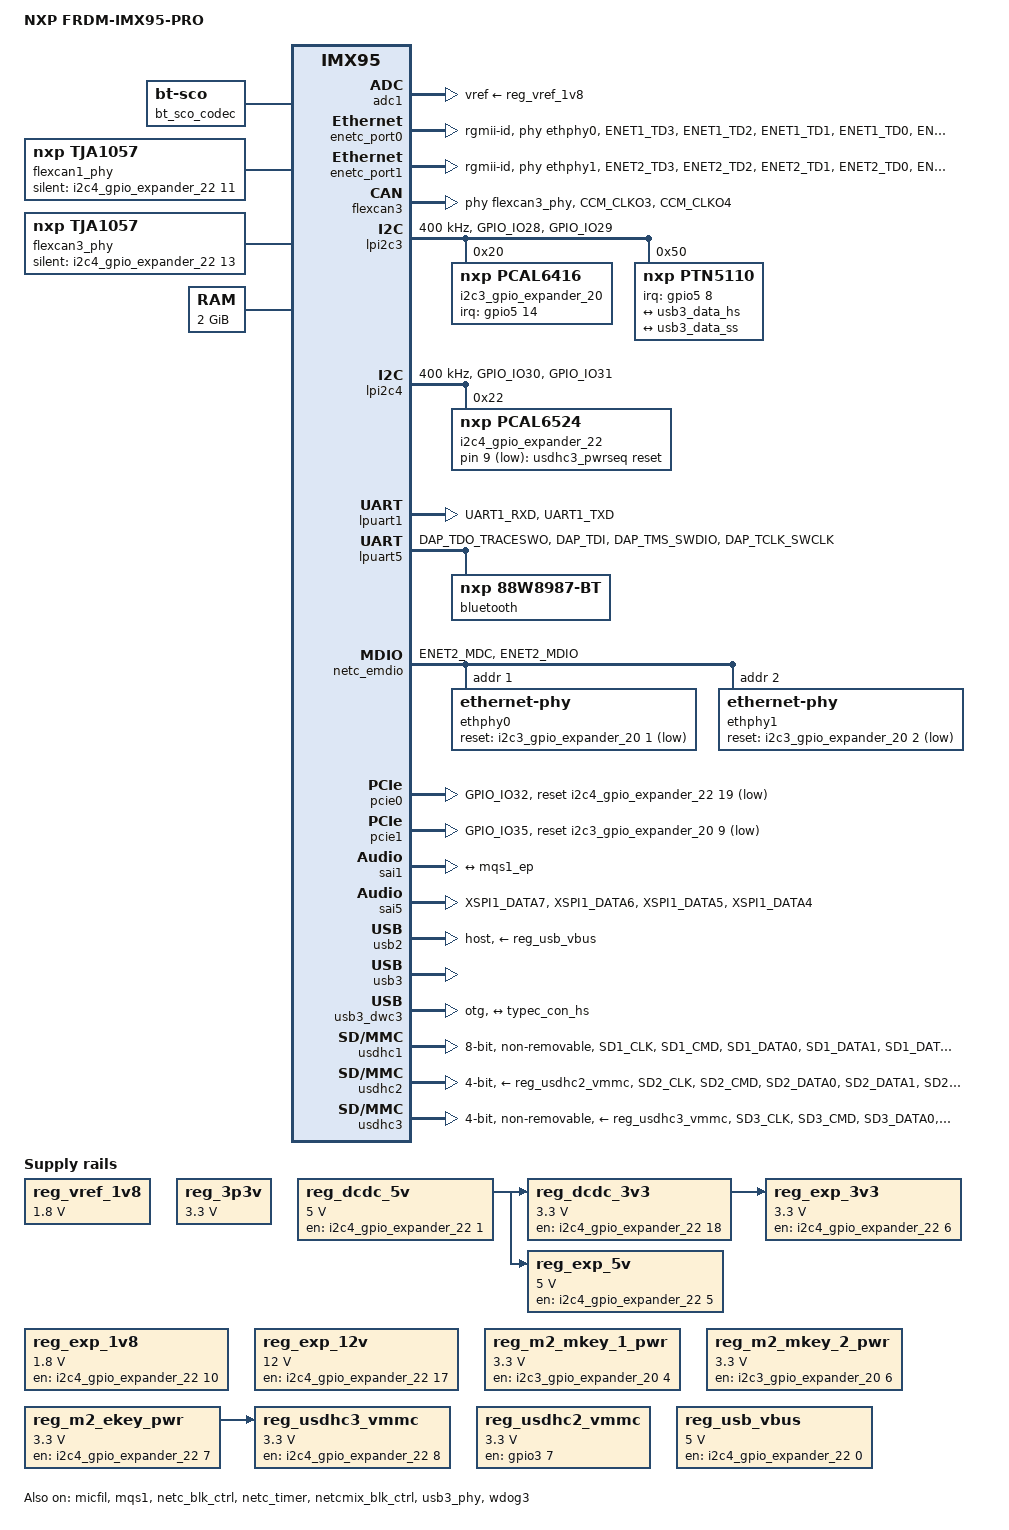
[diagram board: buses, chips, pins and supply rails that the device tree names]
// SPDX-License-Identifier: (GPL-2.0+ OR MIT)
/*
 * Copyright 2026 NXP
 */

/dts-v1/;

#include <dt-bindings/pwm/pwm.h>
#include <dt-bindings/usb/pd.h>
#include "imx95.dtsi"

#define FALLING_EDGE		1
#define RISING_EDGE		2

#define BRD_SM_CTRL_SD3_WAKE		0x8000	/*!< PCAL6408A-0 */
#define BRD_SM_CTRL_PCIE1_WAKE		0x8001	/*!< PCAL6408A-4 */
#define BRD_SM_CTRL_BT_WAKE		0x8002	/*!< PCAL6408A-5 */
#define BRD_SM_CTRL_PCIE2_WAKE		0x8003	/*!< PCAL6408A-6 */
#define BRD_SM_CTRL_BUTTON		0x8004	/*!< PCAL6408A-7 */

/ {
	model = "NXP FRDM-IMX95-PRO";
	compatible = "fsl,imx95-19x19-frdm-pro", "fsl,imx95";

	aliases {
		ethernet0 = &enetc_port0;
		ethernet1 = &enetc_port1;
		gpio0 = &gpio1;
		gpio1 = &gpio2;
		gpio2 = &gpio3;
		gpio3 = &gpio4;
		gpio4 = &gpio5;
		i2c0 = &lpi2c1;
		i2c1 = &lpi2c2;
		i2c2 = &lpi2c3;
		i2c3 = &lpi2c4;
		mmc0 = &usdhc1;
		mmc1 = &usdhc2;
		serial0 = &lpuart1;
		serial4 = &lpuart5;
	};

	bt_sco_codec: bt-sco-codec {
		compatible = "linux,bt-sco";
		#sound-dai-cells = <1>;
	};

	flexcan1_phy: can-phy0 {
		compatible = "nxp,tja1057";
		#phy-cells = <0>;
		max-bitrate = <5000000>;
		silent-gpios = <&i2c4_gpio_expander_22 11 GPIO_ACTIVE_HIGH>;
	};

	flexcan3_phy: can-phy2 {
		compatible = "nxp,tja1057";
		#phy-cells = <0>;
		max-bitrate = <5000000>;
		silent-gpios = <&i2c4_gpio_expander_22 13 GPIO_ACTIVE_HIGH>;
	};

	chosen {
		#address-cells = <2>;
		#size-cells = <2>;
		stdout-path = &lpuart1;
	};

	reg_vref_1v8: regulator-1p8v {
		compatible = "regulator-fixed";
		regulator-name = "+V1.8_SW";
		regulator-max-microvolt = <1800000>;
		regulator-min-microvolt = <1800000>;
	};

	reg_3p3v: regulator-3p3v {
		compatible = "regulator-fixed";
		regulator-name = "+V3.3_SW";
		regulator-max-microvolt = <3300000>;
		regulator-min-microvolt = <3300000>;
	};

	reg_dcdc_3v3: regulator-dcdc-3v3 {
		compatible = "regulator-fixed";
		regulator-name = "DCDC_3V3";
		regulator-always-on;
		regulator-max-microvolt = <3300000>;
		regulator-min-microvolt = <3300000>;
		vin-supply = <&reg_dcdc_5v>;
		gpio = <&i2c4_gpio_expander_22 18 GPIO_ACTIVE_HIGH>;
		enable-active-high;
	};

	reg_dcdc_5v: regulator-dcdc-5v {
		compatible = "regulator-fixed";
		regulator-name = "DCDC_5V";
		regulator-always-on;
		regulator-max-microvolt = <5000000>;
		regulator-min-microvolt = <5000000>;
		gpio = <&i2c4_gpio_expander_22 1 GPIO_ACTIVE_HIGH>;
		enable-active-high;
	};

	reg_exp_1v8: regulator-exp-1v8 {
		compatible = "regulator-fixed";
		regulator-name = "EXP_1V8";
		regulator-max-microvolt = <1800000>;
		regulator-min-microvolt = <1800000>;
		gpio = <&i2c4_gpio_expander_22 10 GPIO_ACTIVE_HIGH>;
		enable-active-high;
	};

	reg_exp_3v3: regulator-exp-3v3 {
		compatible = "regulator-fixed";
		regulator-name = "EXP_3V3";
		regulator-max-microvolt = <3300000>;
		regulator-min-microvolt = <3300000>;
		vin-supply = <&reg_dcdc_3v3>;
		gpio = <&i2c4_gpio_expander_22 6 GPIO_ACTIVE_HIGH>;
		enable-active-high;
	};

	reg_exp_5v: regulator-exp-5v {
		compatible = "regulator-fixed";
		regulator-name = "EXP_5V";
		regulator-always-on;
		regulator-max-microvolt = <5000000>;
		regulator-min-microvolt = <5000000>;
		vin-supply = <&reg_dcdc_5v>;
		gpio = <&i2c4_gpio_expander_22 5 GPIO_ACTIVE_HIGH>;
		enable-active-high;
	};

	reg_exp_12v: regulator-exp-12v {
		compatible = "regulator-fixed";
		regulator-name = "VCCEXP_12V";
		regulator-always-on;
		regulator-max-microvolt = <12000000>;
		regulator-min-microvolt = <12000000>;
		gpio = <&i2c4_gpio_expander_22 17 GPIO_ACTIVE_HIGH>;
		enable-active-high;
	};

	reg_m2_mkey_1_pwr: regulator-m2-mkey-1-pwr {
		compatible = "regulator-fixed";
		regulator-name = "M.2-power-mkey-1";
		regulator-always-on;
		regulator-max-microvolt = <3300000>;
		regulator-min-microvolt = <3300000>;
		gpio = <&i2c3_gpio_expander_20 4 GPIO_ACTIVE_HIGH>;
		enable-active-high;
	};

	reg_m2_mkey_2_pwr: regulator-m2-mkey-2-pwr {
		compatible = "regulator-fixed";
		regulator-name = "M.2-power-mkey-2";
		regulator-always-on;
		regulator-max-microvolt = <3300000>;
		regulator-min-microvolt = <3300000>;
		gpio = <&i2c3_gpio_expander_20 6 GPIO_ACTIVE_HIGH>;
		enable-active-high;
	};

	reg_m2_ekey_pwr: regulator-m2-pwr {
		compatible = "regulator-fixed";
		regulator-name = "M.2-power-ekey";
		regulator-always-on;
		regulator-max-microvolt = <3300000>;
		regulator-min-microvolt = <3300000>;
		gpio = <&i2c4_gpio_expander_22 7 GPIO_ACTIVE_HIGH>;
		enable-active-high;
	};

	reg_usdhc2_vmmc: regulator-usdhc2 {
		compatible = "regulator-fixed";
		regulator-name = "VDD_SD2_3V3";
		off-on-delay-us = <12000>;
		pinctrl-0 = <&pinctrl_reg_usdhc2_vmmc>;
		pinctrl-names = "default";
		regulator-max-microvolt = <3300000>;
		regulator-min-microvolt = <3300000>;
		gpio = <&gpio3 7 GPIO_ACTIVE_HIGH>;
		enable-active-high;
	};

	reg_usdhc3_vmmc: regulator-usdhc3 {
		compatible = "regulator-fixed";
		regulator-name = "WLAN_EN";
		regulator-max-microvolt = <3300000>;
		regulator-min-microvolt = <3300000>;
		vin-supply = <&reg_m2_ekey_pwr>;
		gpio = <&i2c4_gpio_expander_22 8 GPIO_ACTIVE_HIGH>;
		enable-active-high;
		/*
		 * IW612 wifi chip needs more delay than other wifi chips to complete
		 * the host interface initialization after power up, otherwise the
		 * internal state of IW612 may be unstable, resulting in the failure of
		 * the SDIO3.0 switch voltage.
		 */
		startup-delay-us = <20000>;
	};

	reg_usb_vbus: regulator-vbus {
		compatible = "regulator-fixed";
		regulator-name = "USB_VBUS";
		regulator-max-microvolt = <5000000>;
		regulator-min-microvolt = <5000000>;
		gpio = <&i2c4_gpio_expander_22 0 GPIO_ACTIVE_HIGH>;
		enable-active-high;
	};

	reserved-memory {
		ranges;
		#address-cells = <2>;
		#size-cells = <2>;

		linux_cma: linux,cma {
			compatible = "shared-dma-pool";
			alloc-ranges = <0 0x80000000 0 0x7F000000>;
			reusable;
			size = <0 0x3c000000>;
			linux,cma-default;
		};
	};

	sound-bt-sco {
		compatible = "simple-audio-card";
		simple-audio-card,bitclock-inversion;
		simple-audio-card,bitclock-master = <&btcpu>;
		simple-audio-card,format = "dsp_a";
		simple-audio-card,frame-master = <&btcpu>;
		simple-audio-card,name = "bt-sco-audio";

		simple-audio-card,codec {
			sound-dai = <&bt_sco_codec 1>;
		};

		btcpu: simple-audio-card,cpu {
			dai-tdm-slot-num = <2>;
			dai-tdm-slot-width = <16>;
			sound-dai = <&sai5>;
		};
	};

	sound-micfil {
		compatible = "fsl,imx-audio-card";
		model = "micfil-audio";

		pri-dai-link {
			format = "i2s";
			link-name = "micfil hifi";

			cpu {
				sound-dai = <&micfil>;
			};
		};
	};

	sound-mqs {
		compatible = "audio-graph-card2";
		links = <&sai1_port1>;
		label = "mqs-audio";
	};

	usdhc3_pwrseq: usdhc3-pwrseq {
		compatible = "mmc-pwrseq-simple";
		reset-gpios = <&i2c4_gpio_expander_22 9 GPIO_ACTIVE_LOW>;
	};

	memory@80000000 {
		reg = <0x0 0x80000000 0 0x80000000>;
		device_type = "memory";
	};
};

&adc1 {
	vref-supply = <&reg_vref_1v8>;
	status = "okay";
};

&enetc_port0 {
	phy-handle = <&ethphy0>;
	phy-mode = "rgmii-id";
	pinctrl-0 = <&pinctrl_enetc0>;
	pinctrl-names = "default";
	status = "okay";
};

&enetc_port1 {
	phy-handle = <&ethphy1>;
	phy-mode = "rgmii-id";
	pinctrl-0 = <&pinctrl_enetc1>;
	pinctrl-names = "default";
	status = "okay";
};

&flexcan1 {
	phys = <&flexcan1_phy>;
	pinctrl-0 = <&pinctrl_flexcan1>;
	pinctrl-names = "default";
	status = "reserved";
};

&flexcan3 {
	phys = <&flexcan3_phy>;
	pinctrl-0 = <&pinctrl_flexcan3>;
	pinctrl-names = "default";
	status = "okay";
};

&lpi2c3 {
	clock-frequency = <400000>;
	pinctrl-0 = <&pinctrl_lpi2c3>;
	pinctrl-names = "default";
	status = "okay";

	i2c3_gpio_expander_20: i2c3-gpio-expander@20 {
		compatible = "nxp,pcal6416";
		reg = <0x20>;
		#interrupt-cells = <2>;
		interrupt-controller;
		interrupt-parent = <&gpio5>;
		interrupts = <14 IRQ_TYPE_LEVEL_LOW>;
		#gpio-cells = <2>;
		gpio-controller;
		pinctrl-0 = <&pinctrl_pcal6416>;
		pinctrl-names = "default";
	};

	ptn5110: tcpc@50 {
		compatible = "nxp,ptn5110", "tcpci";
		reg = <0x50>;
		interrupt-parent = <&gpio5>;
		interrupts = <8 IRQ_TYPE_LEVEL_LOW>;
		pinctrl-0 = <&pinctrl_ptn5110>;
		pinctrl-names = "default";

		typec_con: connector {
			compatible = "usb-c-connector";
			data-role = "dual";
			label = "USB-C";
			op-sink-microwatt = <0>;
			power-role = "dual";
			self-powered;
			sink-pdos = <PDO_FIXED(5000, 0, PDO_FIXED_USB_COMM)>;
			source-pdos = <PDO_FIXED(5000, 3000, PDO_FIXED_USB_COMM)>;
			try-power-role = "sink";

			ports {
				#address-cells = <1>;
				#size-cells = <0>;

				port@0 {
					reg = <0>;

					typec_con_hs: endpoint {
						remote-endpoint = <&usb3_data_hs>;
					};
				};

				port@1 {
					reg = <1>;

					typec_con_ss: endpoint {
						remote-endpoint = <&usb3_data_ss>;
					};
				};
			};
		};
	};
};

&lpi2c4 {
	clock-frequency = <400000>;
	pinctrl-0 = <&pinctrl_lpi2c4>;
	pinctrl-names = "default";
	status = "okay";

	i2c4_gpio_expander_22: i2c4-gpio-expander@22 {
		compatible = "nxp,pcal6524";
		reg = <0x22>;
		#gpio-cells = <2>;
		gpio-controller;
		gpio-line-names = "USB2 Power Enable",
				  "DCDC5V Enable",
				  "",
				  "SE Enable",
				  "",
				  "EXP 5V Enable",
				  "EXP 3V3 Enable",
				  "WIFI Power Enable",
				  "M2 DIS1 B",
				  "WIFI SD3 Reset",
				  "EXP 1V8 Enable",
				  "CAN1 Standby",
				  "M2 DIS2",
				  "CAN2 Standby",
				  "ETH 10G IO4",
				  "ETH 10G IO3",
				  "SPI3/GPIO select",
				  "EXP 12V Enable",
				  "DCDC 3V3 Enable",
				  "PCIE1 Reset",
				  "",
				  "ETH 10G CLK Enable",
				  "LVDS to HDMI converter IT6263 reset",
				  "";

		/* When high, select lpspi; When low, select gpio. */
		lpspi-gpio-sel-hog {
			gpios = <16 GPIO_ACTIVE_HIGH>;
			gpio-hog;
			output-high;
		};
	};
};

&lpuart1 {
	/* console */
	pinctrl-names = "default";
	pinctrl-0 = <&pinctrl_uart1>;
	status = "okay";
};

&lpuart5 {
	/* BT */
	pinctrl-names = "default";
	pinctrl-0 = <&pinctrl_uart5>;
	status = "okay";

	bluetooth {
		compatible = "nxp,88w8987-bt";
	};
};

&micfil {
	assigned-clocks = <&scmi_clk IMX95_CLK_AUDIOPLL1_VCO>,
			  <&scmi_clk IMX95_CLK_AUDIOPLL2_VCO>,
			  <&scmi_clk IMX95_CLK_AUDIOPLL1>,
			  <&scmi_clk IMX95_CLK_AUDIOPLL2>,
			  <&scmi_clk IMX95_CLK_PDM>;
	assigned-clock-parents = <0>, <0>, <0>, <0>,
				 <&scmi_clk IMX95_CLK_AUDIOPLL1>;
	assigned-clock-rates = <3932160000>,
			       <3612672000>, <393216000>,
			       <361267200>, <49152000>;
	#sound-dai-cells = <0>;
	pinctrl-0 = <&pinctrl_pdm>;
	pinctrl-names = "default";
	status = "okay";
};

&mqs1 {
	clocks = <&scmi_clk IMX95_CLK_SAI1>;
	clock-names = "mclk";
	pinctrl-0 = <&pinctrl_mqs1>;
	pinctrl-names = "default";
	status = "okay";

	mqs1_port: port {
		mqs1_ep: endpoint {
			dai-format = "left_j";
			remote-endpoint = <&sai1_port1_ep>;
		};
	};
};

&netc_blk_ctrl {
	status = "okay";
};

&netc_emdio {
	pinctrl-0 = <&pinctrl_emdio>;
	pinctrl-names = "default";
	status = "okay";

	ethphy0: ethernet-phy@1 {
		reg = <1>;
		reset-assert-us = <10000>;
		reset-deassert-us = <80000>;
		reset-gpios = <&i2c3_gpio_expander_20 1 GPIO_ACTIVE_LOW>;
	};

	ethphy1: ethernet-phy@2 {
		reg = <2>;
		reset-assert-us = <10000>;
		reset-deassert-us = <80000>;
		reset-gpios = <&i2c3_gpio_expander_20 2 GPIO_ACTIVE_LOW>;
	};
};

&netc_timer {
	status = "okay";
};

&netcmix_blk_ctrl {
	status = "okay";
};

&pcie0 {
	pinctrl-0 = <&pinctrl_pcie0>;
	pinctrl-names = "default";
	reset-gpio = <&i2c4_gpio_expander_22 19 GPIO_ACTIVE_LOW>;
	vpcie-supply = <&reg_m2_mkey_1_pwr>;
	status = "okay";
};

&pcie1 {
	pinctrl-0 = <&pinctrl_pcie1>;
	pinctrl-names = "default";
	reset-gpio = <&i2c3_gpio_expander_20 9 GPIO_ACTIVE_LOW>;
	vpcie-supply = <&reg_m2_mkey_2_pwr>;
	status = "okay";
};

&sai1 {
	clocks = <&scmi_clk IMX95_CLK_BUSAON>, <&dummy>,
		 <&scmi_clk IMX95_CLK_SAI1>, <&dummy>,
		 <&dummy>, <&scmi_clk IMX95_CLK_AUDIOPLL1>,
		 <&scmi_clk IMX95_CLK_AUDIOPLL2>;
	clock-names = "bus", "mclk0", "mclk1", "mclk2", "mclk3", "pll8k", "pll11k";
	assigned-clocks = <&scmi_clk IMX95_CLK_AUDIOPLL1_VCO>,
			  <&scmi_clk IMX95_CLK_AUDIOPLL2_VCO>,
			  <&scmi_clk IMX95_CLK_AUDIOPLL1>,
			  <&scmi_clk IMX95_CLK_AUDIOPLL2>,
			  <&scmi_clk IMX95_CLK_SAI1>;
	assigned-clock-parents = <0>, <0>, <0>, <0>,
				 <&scmi_clk IMX95_CLK_AUDIOPLL1>;
	assigned-clock-rates = <3932160000>,
			       <3612672000>, <393216000>,
			       <361267200>, <24576000>;
	#sound-dai-cells = <0>;
	fsl,sai-mclk-direction-output;
	status = "okay";

	ports {
		#address-cells = <1>;
		#size-cells = <0>;

		/* leave unconnected - no RX in the context of MQS */
		port@0 {
			reg = <0>;

			endpoint {
			};
		};

		sai1_port1: port@1 {
			reg = <1>;
			mclk-fs = <512>;

			sai1_port1_ep: endpoint {
				dai-format = "left_j";
				system-clock-direction-out;
				bitclock-master;
				frame-master;
				remote-endpoint = <&mqs1_ep>;
			};
		};
	};
};

&sai5 {
	assigned-clocks = <&scmi_clk IMX95_CLK_AUDIOPLL1_VCO>,
			  <&scmi_clk IMX95_CLK_AUDIOPLL2_VCO>,
			  <&scmi_clk IMX95_CLK_AUDIOPLL1>,
			  <&scmi_clk IMX95_CLK_AUDIOPLL2>,
			  <&scmi_clk IMX95_CLK_SAI5>;
	assigned-clock-parents = <0>, <0>, <0>, <0>,
				 <&scmi_clk IMX95_CLK_AUDIOPLL1>;
	assigned-clock-rates = <3932160000>,
			       <3612672000>, <393216000>,
			       <361267200>, <12288000>;
	#sound-dai-cells = <0>;
	pinctrl-0 = <&pinctrl_sai5>;
	pinctrl-names = "default";
	fsl,sai-mclk-direction-output;
	status = "okay";
};

&scmi_iomuxc {
	pinctrl-0 = <&pinctrl_hog>;
	pinctrl-names = "default";

	pinctrl_emdio: emdiogrp {
		fsl,pins = <
			IMX95_PAD_ENET2_MDC__NETCMIX_TOP_NETC_MDC		0x50e
			IMX95_PAD_ENET2_MDIO__NETCMIX_TOP_NETC_MDIO		0x90e
		>;
	};

	pinctrl_enetc0: enetc0grp {
		fsl,pins = <
			IMX95_PAD_ENET1_TD3__NETCMIX_TOP_ETH0_RGMII_TD3		0x50e
			IMX95_PAD_ENET1_TD2__NETCMIX_TOP_ETH0_RGMII_TD2		0x50e
			IMX95_PAD_ENET1_TD1__NETCMIX_TOP_ETH0_RGMII_TD1		0x50e
			IMX95_PAD_ENET1_TD0__NETCMIX_TOP_ETH0_RGMII_TD0		0x50e
			IMX95_PAD_ENET1_TX_CTL__NETCMIX_TOP_ETH0_RGMII_TX_CTL	0x57e
			IMX95_PAD_ENET1_TXC__NETCMIX_TOP_ETH0_RGMII_TX_CLK	0x58e
			IMX95_PAD_ENET1_RX_CTL__NETCMIX_TOP_ETH0_RGMII_RX_CTL	0x57e
			IMX95_PAD_ENET1_RXC__NETCMIX_TOP_ETH0_RGMII_RX_CLK	0x58e
			IMX95_PAD_ENET1_RD0__NETCMIX_TOP_ETH0_RGMII_RD0		0x57e
			IMX95_PAD_ENET1_RD1__NETCMIX_TOP_ETH0_RGMII_RD1		0x57e
			IMX95_PAD_ENET1_RD2__NETCMIX_TOP_ETH0_RGMII_RD2		0x57e
			IMX95_PAD_ENET1_RD3__NETCMIX_TOP_ETH0_RGMII_RD3		0x57e
		>;
	};

	pinctrl_enetc1: enetc1grp {
		fsl,pins = <
			IMX95_PAD_ENET2_TD3__NETCMIX_TOP_ETH1_RGMII_TD3		0x50e
			IMX95_PAD_ENET2_TD2__NETCMIX_TOP_ETH1_RGMII_TD2		0x50e
			IMX95_PAD_ENET2_TD1__NETCMIX_TOP_ETH1_RGMII_TD1		0x50e
			IMX95_PAD_ENET2_TD0__NETCMIX_TOP_ETH1_RGMII_TD0		0x50e
			IMX95_PAD_ENET2_TX_CTL__NETCMIX_TOP_ETH1_RGMII_TX_CTL	0x57e
			IMX95_PAD_ENET2_TXC__NETCMIX_TOP_ETH1_RGMII_TX_CLK	0x58e
			IMX95_PAD_ENET2_RX_CTL__NETCMIX_TOP_ETH1_RGMII_RX_CTL	0x57e
			IMX95_PAD_ENET2_RXC__NETCMIX_TOP_ETH1_RGMII_RX_CLK	0x58e
			IMX95_PAD_ENET2_RD0__NETCMIX_TOP_ETH1_RGMII_RD0		0x57e
			IMX95_PAD_ENET2_RD1__NETCMIX_TOP_ETH1_RGMII_RD1		0x57e
			IMX95_PAD_ENET2_RD2__NETCMIX_TOP_ETH1_RGMII_RD2		0x57e
			IMX95_PAD_ENET2_RD3__NETCMIX_TOP_ETH1_RGMII_RD3		0x57e
		>;
	};

	pinctrl_flexcan1: flexcan1grp {
		fsl,pins = <
			IMX95_PAD_SAI1_TXD0__AONMIX_TOP_CAN1_TX			0x39e
			IMX95_PAD_SAI1_TXC__AONMIX_TOP_CAN1_RX			0x39e
		>;
	};

	pinctrl_flexcan3: flexcan3grp {
		fsl,pins = <
			IMX95_PAD_CCM_CLKO3__CAN3_TX				0x39e
			IMX95_PAD_CCM_CLKO4__CAN3_RX				0x39e
		>;
	};

	pinctrl_hog: hoggrp {
		fsl,pins = <
			IMX95_PAD_XSPI1_SS1_B__GPIO5_IO_BIT11			0x31e
		>;
	};

	pinctrl_lpi2c3: lpi2c3grp {
		fsl,pins = <
			IMX95_PAD_GPIO_IO28__LPI2C3_SDA				0x40000b9e
			IMX95_PAD_GPIO_IO29__LPI2C3_SCL				0x40000b9e
		>;
	};

	pinctrl_lpi2c4: lpi2c4grp {
		fsl,pins = <
			IMX95_PAD_GPIO_IO30__LPI2C4_SDA				0x40000b9e
			IMX95_PAD_GPIO_IO31__LPI2C4_SCL				0x40000b9e
		>;
	};

	pinctrl_mqs1: mqs1grp {
		fsl,pins = <
			IMX95_PAD_SAI1_TXFS__AONMIX_TOP_MQS1_LEFT		0x31e
			IMX95_PAD_SAI1_RXD0__AONMIX_TOP_MQS1_RIGHT		0x31e
		>;
	};

	pinctrl_pcal6416: pcal6416grp {
		fsl,pins = <
			IMX95_PAD_GPIO_IO34__GPIO5_IO_BIT14			0x31e
		>;
	};

	pinctrl_pcie0: pcie0grp {
		fsl,pins = <
			IMX95_PAD_GPIO_IO32__HSIOMIX_TOP_PCIE1_CLKREQ_B		0x4000031e
		>;
	};

	pinctrl_pcie1: pcie1grp {
		fsl,pins = <
			IMX95_PAD_GPIO_IO35__HSIOMIX_TOP_PCIE2_CLKREQ_B		0x4000031e
		>;
	};

	pinctrl_pdm: pdmgrp {
		fsl,pins = <
			IMX95_PAD_PDM_CLK__AONMIX_TOP_PDM_CLK				0x31e
			IMX95_PAD_PDM_BIT_STREAM0__AONMIX_TOP_PDM_BIT_STREAM_BIT0	0x31e
		>;
	};

	pinctrl_ptn5110: ptn5110grp {
		fsl,pins = <
			IMX95_PAD_XSPI1_DQS__GPIO5_IO_BIT8			0x31e
		>;
	};

	pinctrl_reg_usdhc2_vmmc: regusdhc2vmmcgrp {
		fsl,pins = <
			IMX95_PAD_SD2_RESET_B__GPIO3_IO_BIT7			0x31e
		>;
	};

	pinctrl_sai5: sai5grp {
		fsl,pins = <
			IMX95_PAD_XSPI1_DATA7__SAI5_RX_DATA_BIT0		0x31e
			IMX95_PAD_XSPI1_DATA6__SAI5_TX_BCLK			0x31e
			IMX95_PAD_XSPI1_DATA5__SAI5_TX_SYNC			0x31e
			IMX95_PAD_XSPI1_DATA4__SAI5_TX_DATA_BIT0		0x31e
		>;
	};

	pinctrl_uart1: uart1grp {
		fsl,pins = <
			IMX95_PAD_UART1_RXD__AONMIX_TOP_LPUART1_RX		0x31e
			IMX95_PAD_UART1_TXD__AONMIX_TOP_LPUART1_TX		0x31e
		>;
	};

	pinctrl_uart5: uart5grp {
		fsl,pins = <
			IMX95_PAD_DAP_TDO_TRACESWO__LPUART5_TX			0x31e
			IMX95_PAD_DAP_TDI__LPUART5_RX				0x31e
			IMX95_PAD_DAP_TMS_SWDIO__LPUART5_RTS_B			0x31e
			IMX95_PAD_DAP_TCLK_SWCLK__LPUART5_CTS_B			0x31e
		>;
	};

	pinctrl_usdhc1: usdhc1grp {
		fsl,pins = <
			IMX95_PAD_SD1_CLK__USDHC1_CLK				0x158e
			IMX95_PAD_SD1_CMD__USDHC1_CMD				0x138e
			IMX95_PAD_SD1_DATA0__USDHC1_DATA0			0x138e
			IMX95_PAD_SD1_DATA1__USDHC1_DATA1			0x138e
			IMX95_PAD_SD1_DATA2__USDHC1_DATA2			0x138e
			IMX95_PAD_SD1_DATA3__USDHC1_DATA3			0x138e
			IMX95_PAD_SD1_DATA4__USDHC1_DATA4			0x138e
			IMX95_PAD_SD1_DATA5__USDHC1_DATA5			0x138e
			IMX95_PAD_SD1_DATA6__USDHC1_DATA6			0x138e
			IMX95_PAD_SD1_DATA7__USDHC1_DATA7			0x138e
			IMX95_PAD_SD1_STROBE__USDHC1_STROBE			0x158e
		>;
	};

	pinctrl_usdhc1_100mhz: usdhc1-100mhzgrp {
		fsl,pins = <
			IMX95_PAD_SD1_CLK__USDHC1_CLK				0x158e
			IMX95_PAD_SD1_CMD__USDHC1_CMD				0x138e
			IMX95_PAD_SD1_DATA0__USDHC1_DATA0			0x138e
			IMX95_PAD_SD1_DATA1__USDHC1_DATA1			0x138e
			IMX95_PAD_SD1_DATA2__USDHC1_DATA2			0x138e
			IMX95_PAD_SD1_DATA3__USDHC1_DATA3			0x138e
			IMX95_PAD_SD1_DATA4__USDHC1_DATA4			0x138e
			IMX95_PAD_SD1_DATA5__USDHC1_DATA5			0x138e
			IMX95_PAD_SD1_DATA6__USDHC1_DATA6			0x138e
			IMX95_PAD_SD1_DATA7__USDHC1_DATA7			0x138e
			IMX95_PAD_SD1_STROBE__USDHC1_STROBE			0x158e
		>;
	};

	pinctrl_usdhc1_200mhz: usdhc1-200mhzgrp {
		fsl,pins = <
			IMX95_PAD_SD1_CLK__USDHC1_CLK				0x15fe
			IMX95_PAD_SD1_CMD__USDHC1_CMD				0x13fe
			IMX95_PAD_SD1_DATA0__USDHC1_DATA0			0x13fe
			IMX95_PAD_SD1_DATA1__USDHC1_DATA1			0x13fe
			IMX95_PAD_SD1_DATA2__USDHC1_DATA2			0x13fe
			IMX95_PAD_SD1_DATA3__USDHC1_DATA3			0x13fe
			IMX95_PAD_SD1_DATA4__USDHC1_DATA4			0x13fe
			IMX95_PAD_SD1_DATA5__USDHC1_DATA5			0x13fe
			IMX95_PAD_SD1_DATA6__USDHC1_DATA6			0x13fe
			IMX95_PAD_SD1_DATA7__USDHC1_DATA7			0x13fe
			IMX95_PAD_SD1_STROBE__USDHC1_STROBE			0x15fe
		>;
	};

	pinctrl_usdhc2_gpio: usdhc2gpiogrp {
		fsl,pins = <
			IMX95_PAD_SD2_CD_B__GPIO3_IO_BIT0			0x31e
		>;
	};

	pinctrl_usdhc2: usdhc2grp {
		fsl,pins = <
			IMX95_PAD_SD2_CLK__USDHC2_CLK				0x158e
			IMX95_PAD_SD2_CMD__USDHC2_CMD				0x138e
			IMX95_PAD_SD2_DATA0__USDHC2_DATA0			0x138e
			IMX95_PAD_SD2_DATA1__USDHC2_DATA1			0x138e
			IMX95_PAD_SD2_DATA2__USDHC2_DATA2			0x138e
			IMX95_PAD_SD2_DATA3__USDHC2_DATA3			0x138e
			IMX95_PAD_SD2_VSELECT__USDHC2_VSELECT			0x51e
		>;
	};

	pinctrl_usdhc2_100mhz: usdhc2-100mhzgrp {
		fsl,pins = <
			IMX95_PAD_SD2_CLK__USDHC2_CLK				0x158e
			IMX95_PAD_SD2_CMD__USDHC2_CMD				0x138e
			IMX95_PAD_SD2_DATA0__USDHC2_DATA0			0x138e
			IMX95_PAD_SD2_DATA1__USDHC2_DATA1			0x138e
			IMX95_PAD_SD2_DATA2__USDHC2_DATA2			0x138e
			IMX95_PAD_SD2_DATA3__USDHC2_DATA3			0x138e
			IMX95_PAD_SD2_VSELECT__USDHC2_VSELECT			0x51e
		>;
	};

	pinctrl_usdhc2_200mhz: usdhc2-200mhzgrp {
		fsl,pins = <
			IMX95_PAD_SD2_CLK__USDHC2_CLK				0x158e
			IMX95_PAD_SD2_CMD__USDHC2_CMD				0x138e
			IMX95_PAD_SD2_DATA0__USDHC2_DATA0			0x138e
			IMX95_PAD_SD2_DATA1__USDHC2_DATA1			0x138e
			IMX95_PAD_SD2_DATA2__USDHC2_DATA2			0x138e
			IMX95_PAD_SD2_DATA3__USDHC2_DATA3			0x138e
			IMX95_PAD_SD2_VSELECT__USDHC2_VSELECT			0x51e
		>;
	};

	pinctrl_usdhc3: usdhc3grp {
		fsl,pins = <
			IMX95_PAD_SD3_CLK__USDHC3_CLK				0x158e
			IMX95_PAD_SD3_CMD__USDHC3_CMD				0x138e
			IMX95_PAD_SD3_DATA0__USDHC3_DATA0			0x138e
			IMX95_PAD_SD3_DATA1__USDHC3_DATA1			0x138e
			IMX95_PAD_SD3_DATA2__USDHC3_DATA2			0x138e
			IMX95_PAD_SD3_DATA3__USDHC3_DATA3			0x138e
		>;
	};

	pinctrl_usdhc3_100mhz: usdhc3-100mhzgrp {
		fsl,pins = <
			IMX95_PAD_SD3_CLK__USDHC3_CLK				0x158e
			IMX95_PAD_SD3_CMD__USDHC3_CMD				0x138e
			IMX95_PAD_SD3_DATA0__USDHC3_DATA0			0x138e
			IMX95_PAD_SD3_DATA1__USDHC3_DATA1			0x138e
			IMX95_PAD_SD3_DATA2__USDHC3_DATA2			0x138e
			IMX95_PAD_SD3_DATA3__USDHC3_DATA3			0x138e
		>;
	};

	pinctrl_usdhc3_200mhz: usdhc3-200mhzgrp {
		fsl,pins = <
			IMX95_PAD_SD3_CLK__USDHC3_CLK				0x15fe
			IMX95_PAD_SD3_CMD__USDHC3_CMD				0x13fe
			IMX95_PAD_SD3_DATA0__USDHC3_DATA0			0x13fe
			IMX95_PAD_SD3_DATA1__USDHC3_DATA1			0x13fe
			IMX95_PAD_SD3_DATA2__USDHC3_DATA2			0x13fe
			IMX95_PAD_SD3_DATA3__USDHC3_DATA3			0x13fe
		>;
	};
};

&scmi_misc {
	nxp,ctrl-ids = <BRD_SM_CTRL_SD3_WAKE	FALLING_EDGE
			BRD_SM_CTRL_PCIE1_WAKE	FALLING_EDGE
			BRD_SM_CTRL_BT_WAKE	FALLING_EDGE
			BRD_SM_CTRL_PCIE2_WAKE	FALLING_EDGE
			BRD_SM_CTRL_BUTTON	FALLING_EDGE>;
};

&thermal_zones {
	pf09-thermal {
		polling-delay = <2000>;
		polling-delay-passive = <250>;
		thermal-sensors = <&scmi_sensor 2>;

		trips {
			pf09_alert: trip0 {
				hysteresis = <2000>;
				temperature = <140000>;
				type = "passive";
			};

			pf09_crit: trip1 {
				hysteresis = <2000>;
				temperature = <155000>;
				type = "critical";
			};
		};
	};

	pf53arm-thermal {
		polling-delay = <2000>;
		polling-delay-passive = <250>;
		thermal-sensors = <&scmi_sensor 4>;

		cooling-maps {
			map0 {
				cooling-device = <&A55_0 THERMAL_NO_LIMIT THERMAL_NO_LIMIT>,
					<&A55_1 THERMAL_NO_LIMIT THERMAL_NO_LIMIT>,
					<&A55_2 THERMAL_NO_LIMIT THERMAL_NO_LIMIT>,
					<&A55_3 THERMAL_NO_LIMIT THERMAL_NO_LIMIT>,
					<&A55_4 THERMAL_NO_LIMIT THERMAL_NO_LIMIT>,
					<&A55_5 THERMAL_NO_LIMIT THERMAL_NO_LIMIT>;
				trip = <&pf5301_alert>;
			};
		};

		trips {
			pf5301_alert: trip0 {
				hysteresis = <2000>;
				temperature = <140000>;
				type = "passive";
			};

			pf5301_crit: trip1 {
				hysteresis = <2000>;
				temperature = <155000>;
				type = "critical";
			};
		};
	};

	pf53soc-thermal {
		polling-delay = <2000>;
		polling-delay-passive = <250>;
		thermal-sensors = <&scmi_sensor 3>;

		trips {
			pf5302_alert: trip0 {
				hysteresis = <2000>;
				temperature = <140000>;
				type = "passive";
			};

			pf5302_crit: trip1 {
				hysteresis = <2000>;
				temperature = <155000>;
				type = "critical";
			};
		};
	};
};

&usb2 {
	disable-over-current;
	dr_mode = "host";
	vbus-supply = <&reg_usb_vbus>;
	status = "okay";
};

&usb3 {
	status = "okay";
};

&usb3_dwc3 {
	adp-disable;
	dr_mode = "otg";
	hnp-disable;
	role-switch-default-mode = "peripheral";
	srp-disable;
	usb-role-switch;
	snps,dis-u1-entry-quirk;
	snps,dis-u2-entry-quirk;
	status = "okay";

	port {
		usb3_data_hs: endpoint {
			remote-endpoint = <&typec_con_hs>;
		};
	};
};

&usb3_phy {
	orientation-switch;
	fsl,phy-pcs-tx-deemph-3p5db-attenuation-db = <17>;
	fsl,phy-pcs-tx-swing-full-percent = <100>;
	fsl,phy-tx-preemp-amp-tune-microamp = <600>;
	fsl,phy-tx-vboost-level-microvolt = <1156>;
	fsl,phy-tx-vref-tune-percent = <100>;
	status = "okay";

	port {
		usb3_data_ss: endpoint {
			remote-endpoint = <&typec_con_ss>;
		};
	};
};

&usdhc1 {
	bus-width = <8>;
	non-removable;
	no-sd;
	no-sdio;
	pinctrl-0 = <&pinctrl_usdhc1>;
	pinctrl-1 = <&pinctrl_usdhc1_100mhz>;
	pinctrl-2 = <&pinctrl_usdhc1_200mhz>;
	pinctrl-3 = <&pinctrl_usdhc1>;
	pinctrl-names = "default", "state_100mhz", "state_200mhz", "sleep";
	status = "okay";
};

&usdhc2 {
	bus-width = <4>;
	cd-gpios = <&gpio3 00 GPIO_ACTIVE_LOW>;
	pinctrl-0 = <&pinctrl_usdhc2>, <&pinctrl_usdhc2_gpio>;
	pinctrl-1 = <&pinctrl_usdhc2_100mhz>, <&pinctrl_usdhc2_gpio>;
	pinctrl-2 = <&pinctrl_usdhc2_200mhz>, <&pinctrl_usdhc2_gpio>;
	pinctrl-3 = <&pinctrl_usdhc2>, <&pinctrl_usdhc2_gpio>;
	pinctrl-names = "default", "state_100mhz", "state_200mhz", "sleep";
	vmmc-supply = <&reg_usdhc2_vmmc>;
	status = "okay";
};

&usdhc3 {
	bus-width = <4>;
	keep-power-in-suspend;
	mmc-pwrseq = <&usdhc3_pwrseq>;
	non-removable;
	pinctrl-0 = <&pinctrl_usdhc3>;
	pinctrl-1 = <&pinctrl_usdhc3_100mhz>;
	pinctrl-2 = <&pinctrl_usdhc3_200mhz>;
	pinctrl-3 = <&pinctrl_usdhc3>;
	pinctrl-names = "default", "state_100mhz", "state_200mhz", "sleep";
	vmmc-supply = <&reg_usdhc3_vmmc>;
	wakeup-source;
	status = "okay";
};

&wdog3 {
	status = "okay";
};
